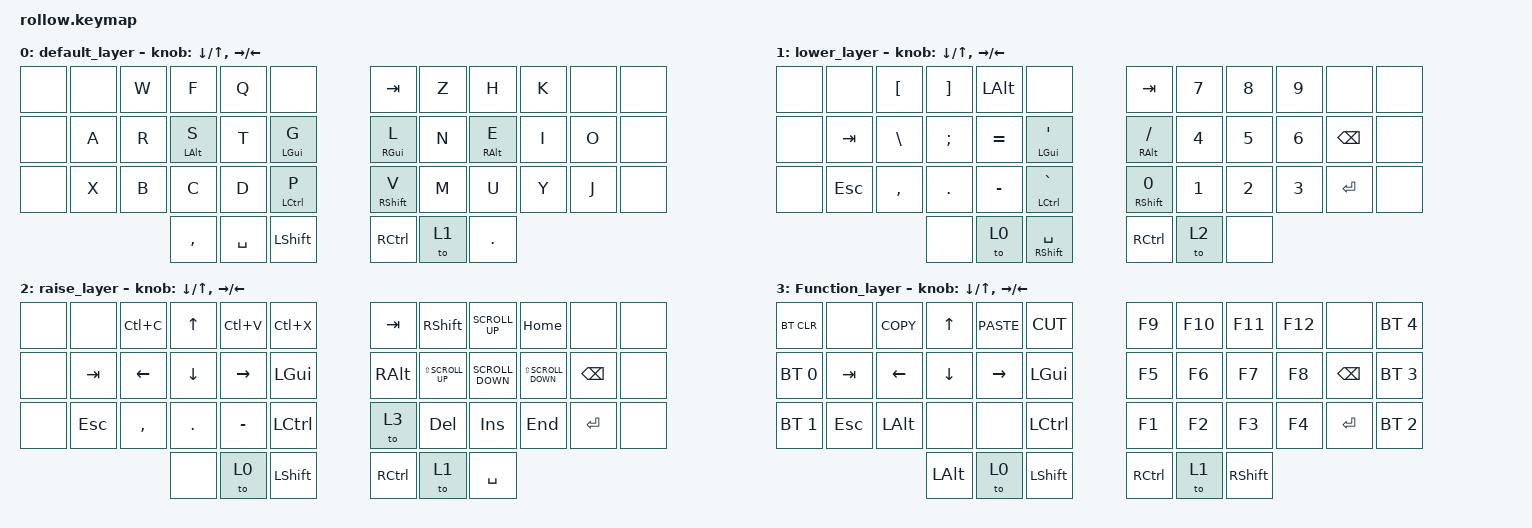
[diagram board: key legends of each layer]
/*
 * copyright (c) 2020 the zmk contributors
 *
 * spdx-license-identifier: mit
 */

#include <behaviors.dtsi>
#include <dt-bindings/zmk/bt.h>
#include <dt-bindings/zmk/keys.h>

#define base 0
#define lower 1
#define raise 2
#define adjust 3

&mt { tapping-term-ms = <250>; };

/ {
    behaviors {
        ht_tp: hold-tap-tap-preferred {
            label = "HOLD-TAP-TAP-PREFERRED";
            compatible = "zmk,behavior-hold-tap";
            #binding-cells = <2>;
            flavor = "tap-preferred";
            tapping-term-ms = <200>;
            bindings = <&kp>, <&kp>;
        };
    };

    chosen {
        zmk,battery = &vbatt;

        // zmk,matrix_transform = &five_column_transform;
    };

    vbatt: vbatt {
        compatible = "zmk,battery-nrf-vddh";
        label = "VBATT";
    };

    // Activate ADJUST layer by pressing raise and lower
    /*
    conditional_layers {
        compatible = "zmk,conditional-layers";

        adjust_layer {
            if-layers = <0 2>;
            then-layer = <3>;
        };
    };
*/

    combos {
        compatible = "zmk,combos";

        EnterRight {
            bindings = <&kp RET>;
            key-positions = <7 8 9>;
        };

        BacspacL {
            bindings = <&kp BACKSPACE>;
            key-positions = <33 32 31>;
        };

        RetLef {
            bindings = <&kp RET>;
            key-positions = <2 3 4>;
        };

        BSpaceLef {
            bindings = <&kp BACKSPACE>;
            key-positions = <26 27 28>;
        };

        Escape {
            bindings = <&kp ESCAPE>;
            key-positions = <13 14>;
        };

        Rescape {
            bindings = <&kp ESCAPE>;
            key-positions = <22 21>;
        };
    };

    keymap {
        compatible = "zmk,keymap";

        default_layer {
            /* Default
 * .-----------------------------------------.                    .-----------------------------------------.
 * | TAB  |   Q  |   W  |   E  |   R  |   T  |                    |   Y  |   U  |   I  |   O  |   P  | BKSP |
 * |------+------+------+------+------+------|                    |------+------+------+------+------+------|
 * | CTRL |   A  |   S  |   D  |   F  |   G  |                    |   H  |   J  |   K  |   L  |   ;  |   '  |
 * |------+------+------+------+------+------|                    |------+------+------+------+------+------|
 * | SHFT |   Z  |   X  |   C  |   V  |   B  |-------.    .-------|   N  |   M  |   ,  |   .  |   /  | SHFT |
 * '-----------------------------------------/       /     \      \-----------------------------------------'
 *                          |  GUI |  LWR | / Space /       \ Space\  |TT(RS)| Tab  |
 *                          |      |      |/       /         \      \ |      |      |
 *                          '-------------''------'           '------''-------------'
 *
 *   Encoder Left: Up <-> Down
 *   Encoder Right: Left <-> Right
 */

            bindings = <
&none  &none  &kp W  &kp F          &kp Q      &none           &kp TAB          &kp Z  &kp H          &kp K  &none  &none
&none  &kp A  &kp R  &ht_tp LALT S  &kp T      &ht_tp LGUI G   &ht_tp RGUI L    &kp N  &ht_tp RALT E  &kp I  &kp O  &none
&none  &kp X  &kp B  &kp C          &kp D      &ht_tp LCTRL P  &ht_tp RSHIFT V  &kp M  &kp U          &kp Y  &kp J  &none
                     &kp COMMA      &kp SPACE  &kp LSHIFT      &kp RCTRL        &to 1  &kp DOT
            >;

            sensor-bindings = <&inc_dec_kp DOWN UP &inc_dec_kp RIGHT LEFT>;
        };

        lower_layer {
            // TODO: Some binds are waiting for shifted keycode support.
            // ------------------------------------------------------------------------------------------------------------
            // |       |  F1 |  F2 |  F3  |  F4  |  F5  |                   |  F6  |  F7   |  F8   |  F9  |  F10  |  F11  |
            // | `     |   1 |   2 |   3  |   4  |   5  |                   |   6  |   7   |   8   |   9  |    0  |  F12  |
            // |       |  !  |  @  |  #   |  $   |  %   |                   |  ^   |  &    |  *    |  (   |   )   |   |   |
            // |       |  =  |  -  |  +   |  {   |  }   |        |  |       |  [   |  ]    |  ;    |  :   |   \   |       |
            //               |     |      |      |      |        |  |       |      |       |       |      |

            bindings = <
&none  &none    &kp LBKT   &kp RBKT  &kp LALT   &none                &kp TAB            &kp N7  &kp N8  &kp N9  &none     &none
&none  &kp TAB  &kp BSLH   &kp SEMI  &kp EQUAL  &ht_tp LGUI SQT      &ht_tp RALT SLASH  &kp N4  &kp N5  &kp N6  &kp BSPC  &none
&none  &kp ESC  &kp COMMA  &kp DOT   &kp MINUS  &ht_tp LCTRL GRAVE   &ht_tp RSHIFT N0   &kp N1  &kp N2  &kp N3  &kp RET   &none
                           &none     &to 0      &ht_tp RSHIFT SPACE  &kp RCTRL          &to 2   &none
            >;

            sensor-bindings = <&inc_dec_kp DOWN UP &inc_dec_kp RIGHT LEFT>;
        };

        raise_layer {
            // ------------------------------------------------------------------------------------------------------------
            // |BTCLR| BT1  | BT2  |  BT3  |  BT4  |  BT5 |                |      |      |       |      |       |       |
            // |     | INS  | PSCR | GUI   |       |      |                | PGUP |      |   ^   |      |       |       |
            // |     | ALT  | CTRL | SHIFT |       | CAPS |                | PGDN |   <- |   v   |  ->  |  DEL  | BKSPC |
            // |     | UNDO | CUT  | COPY  | PASTE |      |      |  |      |      |      |       |      |       |       |
            //              |      |       |       |      |      |  |      |      |      |       |      |

            bindings = <
&none  &none    &kp LC(C)  &kp UP    &kp LC(V)  &kp LC(X)   &kp TAB    &kp RSHIFT           &kp K_SCROLL_UP    &kp HOME               &none     &none
&none  &kp TAB  &kp LEFT   &kp DOWN  &kp RIGHT  &kp LGUI    &kp RALT   &kp LS(K_SCROLL_UP)  &kp K_SCROLL_DOWN  &kp LS(K_SCROLL_DOWN)  &kp BSPC  &none
&none  &kp ESC  &kp COMMA  &kp DOT   &kp MINUS  &kp LCTRL   &to 3      &kp DEL              &kp INSERT         &kp END                &kp RET   &none
                           &none     &to 0      &kp LSHIFT  &kp RCTRL  &to 1                &kp SPACE
            >;

            sensor-bindings = <&inc_dec_kp DOWN UP &inc_dec_kp RIGHT LEFT>;
        };

        // ------------------------------------------------------------------------------------------------------------
        // |BTCLR | BT1   | BT2   |  BT3  |  BT4  |  BT5  |                |      |      |       |      |       |       |
        // |EXTPWR|RGB_HUD|RGB_HUI|RGB_SAD|RGB_SAI|RGB_EFF|                |      |      |       |      |       |       |
        // |      |RGB_BRD|RGB_BRI|       |       |       |                |      |      |       |      |       |       |
        // |      |       |       |       |       |       |RGB_TOG| |      |      |      |       |      |       |       |
        //                |       |       |       |       |       | |      |      |      |       |      |

        Function_layer {
            bindings = <
&bt BT_CLR    &none    &kp K_COPY    &kp UP_ARROW    &kp K_PASTE  &kp K_CUT   &kp F9     &kp F10  &kp F11          &kp F12  &none     &bt BT_SEL 4
&bt BT_SEL 0  &kp TAB  &kp LEFT      &kp DOWN_ARROW  &kp RIGHT    &kp LGUI    &kp F5     &kp F6   &kp F7           &kp F8   &kp BSPC  &bt BT_SEL 3
&bt BT_SEL 1  &kp ESC  &kp LEFT_ALT  &none           &none        &kp LCTRL   &kp F1     &kp F2   &kp F3           &kp F4   &kp RET   &bt BT_SEL 2
                                     &kp LEFT_ALT    &to 0        &kp LSHIFT  &kp RCTRL  &to 1    &kp RIGHT_SHIFT
            >;

            sensor-bindings = <&inc_dec_kp DOWN UP &inc_dec_kp RIGHT LEFT>;
        };
    };
};
